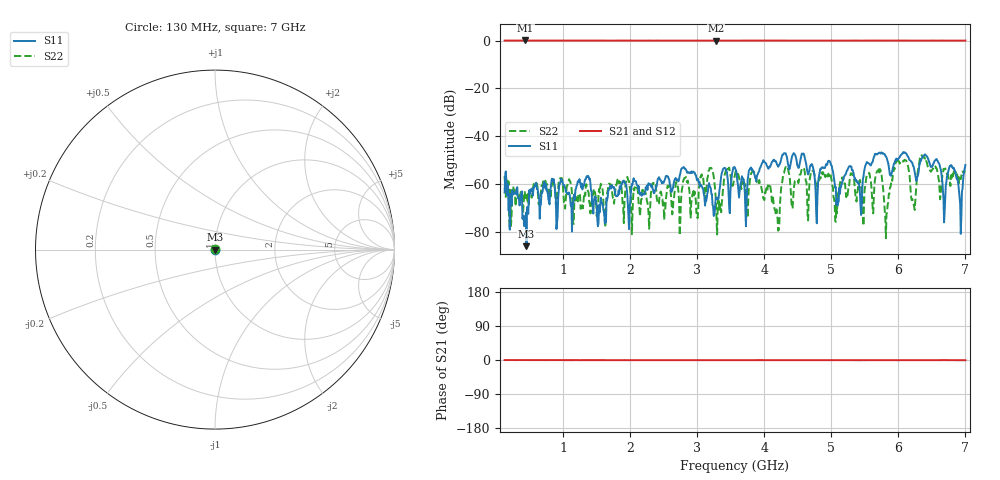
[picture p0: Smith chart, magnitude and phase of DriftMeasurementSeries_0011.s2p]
# Hz S RI R 50.000000
! Metas.Vna.Tools, 2.8.8664.20301
! Metas.Vna.Data, 2.8.8664.20285
! Created: UTC 2024.02.11 10:08:09
! FREQ  re:S1,1  im:S1,1  re:S2,1  im:S2,1  re:S1,2  im:S1,2  re:S2,2  im:S2,2
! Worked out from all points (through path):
!   801 points, 130 MHz to 7 GHz, reference 50 ohm
!   highest |S21| = 0.03 dB at 439.1 MHz (marker M1); lowest = -0.1 dB at 3.282 GHz (marker M2)
!   lowest |S11| = -85.8 dB at 456.3 MHz (marker M3), VSWR 1.00, Z = 50 - j0.00059 ohm
!   |S11| at or under -10 dB: start of sweep to end of sweep
!   |S22| runs from -82.4 to -47.8 dB; largest |S21 - S12| = 0.0065
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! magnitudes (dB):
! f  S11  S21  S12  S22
! 130 MHz  -63.4  0.0  0.0  -56.6
! 439.1 MHz  -76.2  0.0  0.0  -65.5
! 456.3 MHz  -85.8  0.0  0.0  -64.4
! 1.281 GHz  -59.6  0.0  0.0  -69.5
! 1.607 GHz  -71.3  0.0  0.0  -70.1
! 2.423 GHz  -57.5  0.0  0.0  -68.1
! 2.99 GHz  -57.0  -0.1  0.0  -72.0
! 3.204 GHz  -61.6  0.0  0.0  -53.1
! 3.282 GHz  -65.4  -0.1  0.0  -66.9
! 3.565 GHz  -53.1  0.0  0.0  -55.9
! 3.72 GHz  -70.6  0.0  0.0  -60.1
! 4.192 GHz  -51.7  0.0  0.0  -72.3
! 4.321 GHz  -47.0  0.0  0.0  -52.8
! 4.716 GHz  -51.7  0.0  0.0  -54.2
! 5.102 GHz  -67.6  0.0  0.0  -63.7
! 5.712 GHz  -46.8  0.0  0.0  -53.3
! 5.858 GHz  -52.6  0.0  0.0  -64.0
! 5.995 GHz  -49.5  0.0  0.0  -49.7
! 6.227 GHz  -52.5  0.0  0.0  -67.9
! 6.356 GHz  -48.7  0.0  0.0  -48.2
! 6.923 GHz  -68.5  0.0  0.0  -57.4
! 7 GHz  -51.9  0.0  0.0  -54.5
